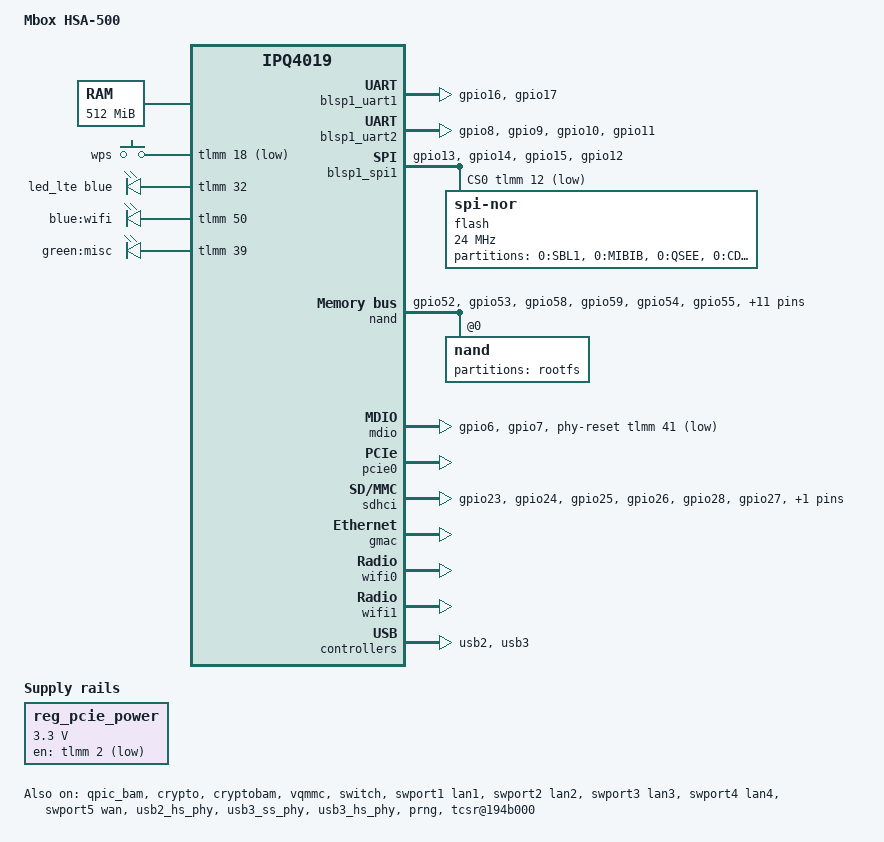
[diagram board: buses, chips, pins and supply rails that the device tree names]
// SPDX-License-Identifier: GPL-2.0-or-later OR MIT

#include "qcom-ipq4019.dtsi"
#include <dt-bindings/gpio/gpio.h>
#include <dt-bindings/input/input.h>
#include <dt-bindings/soc/qcom,tcsr.h>

/ {
	model = "Mbox HSA-500";
	compatible = "mbox,hsa-500", "qcom,ipq4019";

	memory@80000000 {
		device_type = "memory";
		reg = <0x80000000 0x20000000>;
	};

	aliases {
		serial0 = &blsp1_uart1;
		serial1 = &blsp1_uart2;
		ethernet0 = &gmac;
		led-boot = &led_misc;
		led-failsafe = &led_misc;
		led-running = &led_misc;
		led-upgrade = &led_misc;
	};

	chosen {
		stdout-path = "serial0:115200n8";
	};

	soc {
		counter@4a1000 {
			compatible = "qcom,qca-gcnt";
			reg = <0x4a1000 0x4>;
		};

		tcsr@1949000 {
			compatible = "qcom,tcsr";
			reg = <0x1949000 0x100>;
			qcom,wifi_glb_cfg = <TCSR_WIFI_GLB_CFG>;
		};

		tcsr@194b000 {
			compatible = "qcom,tcsr";
			reg = <0x194b000 0x100>;
			qcom,usb-hsphy-mode-select = <TCSR_USB_HSPHY_HOST_MODE>;
			status = "okay";
		};

		ess_tcsr@1953000 {
			compatible = "qcom,tcsr";
			reg = <0x1953000 0x1000>;
			qcom,ess-interface-select = <TCSR_ESS_PSGMII>;
		};

		tcsr@1957000 {
			compatible = "qcom,tcsr";
			reg = <0x1957000 0x100>;
			qcom,wifi_noc_memtype_m0_m2 =
				<TCSR_WIFI_NOC_MEMTYPE_M0_M2>;
		};
	};

	reg_pcie_power: regulator {
		compatible = "regulator-fixed";
		regulator-name = "pcie_power";
		regulator-min-microvolt = <3300000>;
		regulator-max-microvolt = <3300000>;
		gpio = <&tlmm 2 GPIO_ACTIVE_LOW>;
		enable-active-low;
		regulator-always-on;
		regulator-boot-on;
	};

	keys {
		compatible = "gpio-keys";

		wps {
			label = "wps";
			gpios = <&tlmm 18 GPIO_ACTIVE_LOW>;
			linux,code = <KEY_WPS_BUTTON>;
		};
	};

	leds {
		compatible = "gpio-leds";

		led_lte: lte {
			color = <LED_COLOR_ID_BLUE>;
			function = "lte";
			gpios = <&tlmm 32 GPIO_ACTIVE_HIGH>;
		};

		led_wifi: wifi {
			label = "blue:wifi";
			gpios = <&tlmm 50 GPIO_ACTIVE_HIGH>;
		};

		led_misc: misc {
			label = "green:misc";
			gpios = <&tlmm 39 GPIO_ACTIVE_HIGH>;
		};
	};
};

&tlmm {
	mdio_pins: mdio-pinmux {
		mux_1 {
			pins = "gpio6";
			function = "mdio";
			bias-pull-up;
		};

		mux_2 {
			pins = "gpio7";
			function = "mdc";
			bias-pull-up;
		};
	};

	serial0_pins: serial0-pinmux {
		mux {
			pins = "gpio16", "gpio17";
			function = "blsp_uart0";
			bias-disable;
		};
	};

	serial1_pins: serial1-pinmux {
		mux {
			pins = "gpio8", "gpio9", "gpio10", "gpio11";
			function = "blsp_uart1";
			bias-disable;
		};
	};

	spi_0_pins: spi-0-pinmux {
		pinmux {
			pins = "gpio13", "gpio14", "gpio15";
			function = "blsp_spi0";
			drive-strength = <12>;
			bias-disable;
		};

		pinmux-cs {
			pins = "gpio12";
			function = "gpio";
			drive-strength = <2>;
			bias-disable;
			output-high;
		};
	};

	nand_pins: nand-pins {
		pullups {
			pins = "gpio52", "gpio53", "gpio58", "gpio59";
			function = "qpic";
			bias-pull-up;
		};

		pulldowns {
			pins = "gpio54", "gpio55", "gpio56", "gpio57",
			       "gpio60", "gpio62", "gpio63", "gpio64",
			       "gpio65", "gpio66", "gpio67", "gpio68",
			       "gpio69";
			function = "qpic";
			bias-pull-down;
		};
	};

	sd_pins: sd-pins {
		data {
			pins = "gpio23", "gpio24", "gpio25", "gpio26",
			       "gpio28";
			function = "sdio";
			drive-strength = <10>;
		};

		clk {
			pins = "gpio27";
			function = "sdio";
			drive-strength = <16>;
		};
	};
};

&blsp_dma {
	status = "okay";
};

&blsp1_uart1 {
	pinctrl-0 = <&serial0_pins>;
	pinctrl-names = "default";
	status = "okay";
};

&blsp1_uart2 {
	pinctrl-0 = <&serial1_pins>;
	pinctrl-names = "default";
	status = "okay";
};

&blsp1_spi1 {
	pinctrl-0 = <&spi_0_pins>;
	pinctrl-names = "default";
	cs-gpios = <&tlmm 12 GPIO_ACTIVE_LOW>;
	status = "okay";

	flash@0 {
		compatible = "jedec,spi-nor";
		reg = <0>;
		spi-max-frequency = <24000000>;

		partitions {
			compatible = "fixed-partitions";
			#address-cells = <1>;
			#size-cells = <1>;

			partition@0 {
				label = "0:SBL1";
				reg = <0x00000000 0x00040000>;
				read-only;
			};

			partition@40000 {
				label = "0:MIBIB";
				reg = <0x00040000 0x00020000>;
				read-only;
			};

			partition@60000 {
				label = "0:QSEE";
				reg = <0x00060000 0x00060000>;
				read-only;
			};

			partition@c0000 {
				label = "0:CDT";
				reg = <0x000c0000 0x00010000>;
				read-only;
			};

			partition@d0000 {
				label = "0:DDRPARAMS";
				reg = <0x000d0000 0x00010000>;
				read-only;
			};

			partition@e0000 {
				label = "0:APPSBLENV";
				reg = <0x000e0000 0x00010000>;
				read-only;
			};

			partition@f0000 {
				label = "0:APPSBL";
				reg = <0x000f0000 0x00080000>;
				read-only;
			};

			art: partition@170000 {
				label = "0:ART";
				reg = <0x00170000 0x00010000>;
				read-only;

				nvmem-layout {
					compatible = "fixed-layout";
					#address-cells = <1>;
					#size-cells = <1>;

					macaddr_art_0: mac-address@0 {
						reg = <0x0 0x6>;
					};

					macaddr_art_6: mac-address@6 {
						reg = <0x6 0x6>;
					};

					precal_art_1000: precal@1000 {
						reg = <0x1000 0x2f20>;
					};

					precal_art_5000: precal@5000 {
						reg = <0x5000 0x2f20>;
					};
				};
			};
		};
	};
};

&qpic_bam {
	status = "okay";
};

&nand {
	pinctrl-0 = <&nand_pins>;
	pinctrl-names = "default";
	status = "okay";

	nand@0 {
		partitions {
			compatible = "fixed-partitions";
			#address-cells = <1>;
			#size-cells = <1>;

			partition@0 {
				/*
				 * Do not rename this to "ubi": Qualcomm bootipq
				 * forces ubi.mtd=rootfs on the vendor APPSBL.
				 */
				label = "rootfs";
				reg = <0x00000000 0x04000000>;
			};
		};
	};
};

&crypto {
	status = "okay";
};

&cryptobam {
	num-channels = <4>;
	qcom,num-ees = <2>;
	status = "okay";
};

&mdio {
	pinctrl-0 = <&mdio_pins>;
	pinctrl-names = "default";
	phy-reset-gpios = <&tlmm 41 GPIO_ACTIVE_LOW>;
	status = "okay";
};

&pcie0 {
	perst-gpios = <&tlmm 38 GPIO_ACTIVE_LOW>;
	status = "okay";
};

&vqmmc {
	status = "okay";
};

&sdhci {
	pinctrl-0 = <&sd_pins>;
	pinctrl-names = "default";
	cd-gpios = <&tlmm 22 GPIO_ACTIVE_LOW>;
	vqmmc-supply = <&vqmmc>;
	status = "okay";
};

&gmac {
	status = "okay";
	nvmem-cells = <&macaddr_art_0>;
	nvmem-cell-names = "mac-address";
};

&switch {
	status = "okay";
};

&swport1 {
	label = "lan1";
	status = "okay";
};

&swport2 {
	label = "lan2";
	status = "okay";
};

&swport3 {
	label = "lan3";
	status = "okay";
};

&swport4 {
	label = "lan4";
	status = "okay";
};

&swport5 {
	label = "wan";
	status = "okay";
};

&wifi0 {
	nvmem-cells = <&precal_art_1000>, <&macaddr_art_0>;
	nvmem-cell-names = "pre-calibration", "mac-address";
	status = "okay";
};

&wifi1 {
	nvmem-cells = <&precal_art_5000>, <&macaddr_art_6>;
	nvmem-cell-names = "pre-calibration", "mac-address";
	status = "okay";
};

&usb2 {
	status = "okay";
};

&usb2_hs_phy {
	status = "okay";
};

&usb3 {
	status = "okay";
};

&usb3_ss_phy {
	status = "okay";
};

&usb3_hs_phy {
	status = "okay";
};

&prng {
	status = "okay";
};
